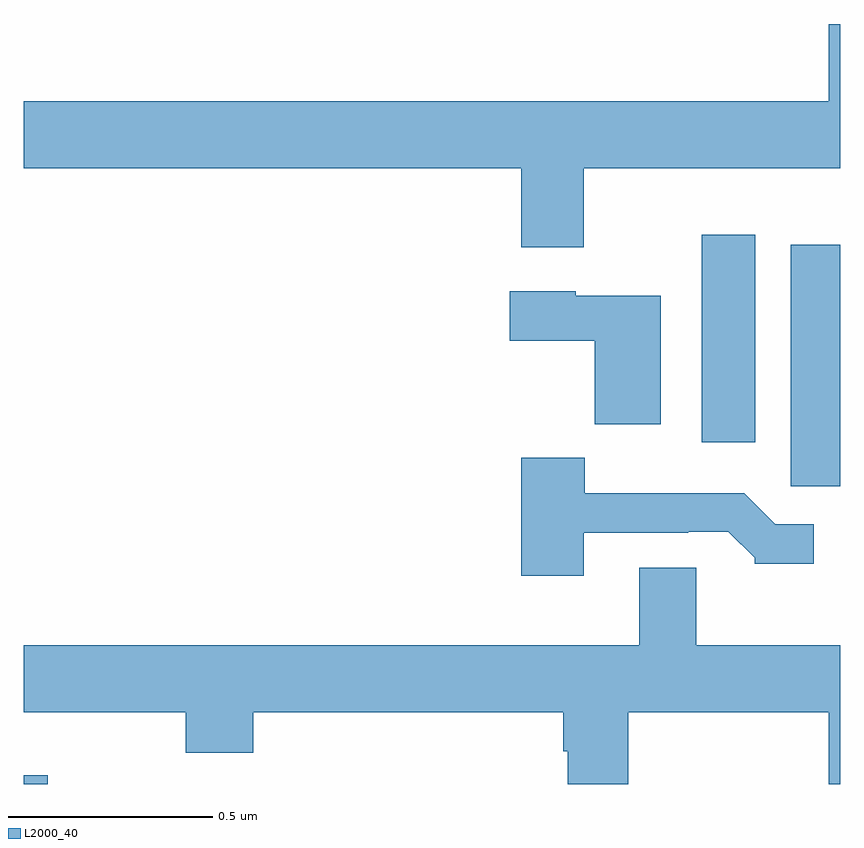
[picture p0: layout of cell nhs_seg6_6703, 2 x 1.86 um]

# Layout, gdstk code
import gdstk
lib = gdstk.Library(unit=1e-6, precision=1e-09)
def R(c, l, rs):  # rectangles x0, y0, x1, y1
    for r in rs: c.add(gdstk.rectangle(r[:2], r[2:], *l))
def P(c, l, *ps):  # polygons
    for p in ps: c.add(gdstk.Polygon(p, *l))
L2000_40 = (2000, 40)

nhs_seg6_6703 = lib.new_cell('nhs_seg6_6703')
R(nhs_seg6_6703, L2000_40, [(199,940.5,199.059,940.522), (200.879,941.229,201,941.821), (200.66,941.337,200.791,941.845)])
P(nhs_seg6_6703, L2000_40, [(200.371,942.008),(201,942.008),(201,942.361),(200.972,942.361),(200.972,942.172),(199,942.172),(199,942.008),(200.219,942.008),(200.219,941.814),(200.371,941.814)],
  [(200.56,941.695),(200.352,941.695),(200.352,941.707),(200.19,941.707),(200.19,941.585),(200.398,941.585),(200.398,941.381),(200.56,941.381)],
  [(200.371,941.115),(200.627,941.115),(200.627,941.118),(200.726,941.118),(200.79,941.054),(200.79,941.039),(200.935,941.039),(200.935,941.136),(200.841,941.136),(200.765,941.212),(200.374,941.212),(200.374,941.299),(200.219,941.299),(200.219,941.01),(200.371,941.01)],
  [(200.481,940.676),(200.972,940.676),(200.972,940.5),(201,940.5),(201,940.84),(200.647,940.84),(200.647,941.03),(200.507,941.03),(200.507,940.84),(199,940.84),(199,940.676),(199.397,940.676),(199.397,940.577),(199.562,940.577),(199.562,940.676),(200.321,940.676),(200.321,940.58),(200.333,940.58),(200.333,940.5),(200.481,940.5)])

lib.write_gds('nhs_seg6_6703.gds')
